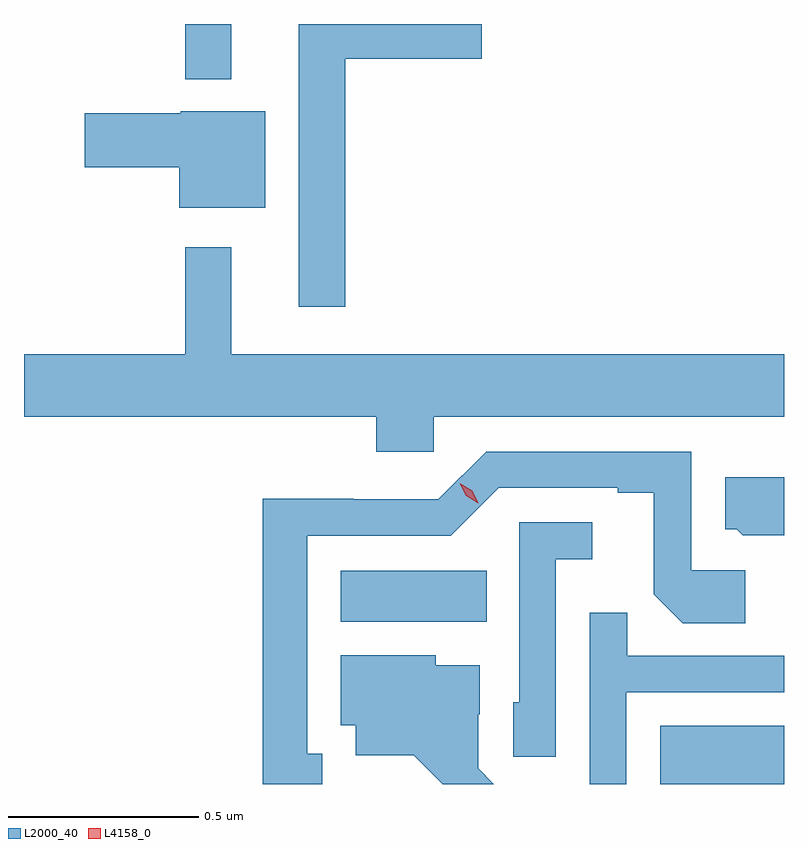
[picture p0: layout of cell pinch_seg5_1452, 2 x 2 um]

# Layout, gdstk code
import gdstk
lib = gdstk.Library(unit=1e-6, precision=1e-09)
def R(c, l, rs):  # rectangles x0, y0, x1, y1
    for r in rs: c.add(gdstk.rectangle(r[:2], r[2:], *l))
def P(c, l, *ps):  # polygons
    for p in ps: c.add(gdstk.Polygon(p, *l))
L2000_40 = (2000, 40)
L4158_0 = (4158, 0)

pinch_seg5_1452 = lib.new_cell('pinch_seg5_1452')
R(pinch_seg5_1452, L2000_40, [(162.41,903.745,162.736,903.898), (161.57,904.172,161.954,904.306), (161.16,905.6,161.281,905.745)])
P(pinch_seg5_1452, L2000_40, [(161.581,905.654),(161.941,905.654),(161.941,905.745),(161.459,905.745),(161.459,905.001),(161.581,905.001)],
  [(161.371,905.515),(161.148,905.515),(161.148,905.51),(160.896,905.51),(160.896,905.368),(161.144,905.368),(161.144,905.261),(161.371,905.261)],
  [(161.814,904.712),(162.736,904.712),(162.736,904.876),(161.281,904.876),(161.281,905.158),(161.16,905.158),(161.16,904.876),(160.736,904.876),(160.736,904.712),(161.663,904.712),(161.663,904.619),(161.814,904.619)],
  [(161.521,903.825),(161.482,903.825),(161.482,904.398),(161.859,904.398),(161.985,904.524),(162.299,904.524),(162.299,904.512),(162.393,904.512),(162.393,904.244),(162.469,904.168),(162.634,904.168),(162.634,904.308),(162.492,904.308),(162.492,904.62),(161.952,904.62),(161.826,904.494),(161.604,904.494),(161.604,904.496),(161.364,904.496),(161.364,903.745),(161.521,903.745)],
  [(162.736,904.552),(162.581,904.552),(162.581,904.416),(162.612,904.416),(162.628,904.4),(162.736,904.4)],
  [(162.135,904.337),(162.232,904.337),(162.232,904.434),(162.039,904.434),(162.039,903.96),(162.024,903.96),(162.024,903.817),(162.135,903.817)],
  [(162.321,903.987),(162.736,903.987),(162.736,904.083),(162.323,904.083),(162.323,904.196),(162.225,904.196),(162.225,903.745),(162.321,903.745)],
  [(161.931,903.786),(161.931,903.928),(161.935,903.928),(161.935,904.057),(161.82,904.057),(161.82,904.084),(161.57,904.084),(161.57,903.9),(161.609,903.9),(161.609,903.821),(161.761,903.821),(161.838,903.745),(161.972,903.745)])
P(pinch_seg5_1452, L4158_0, [(161.932,904.484),(161.9,904.503),(161.883,904.536),(161.883,904.536),(161.883,904.536),(161.915,904.517),(161.932,904.485),(161.932,904.484)])

lib.write_gds('pinch_seg5_1452.gds')
